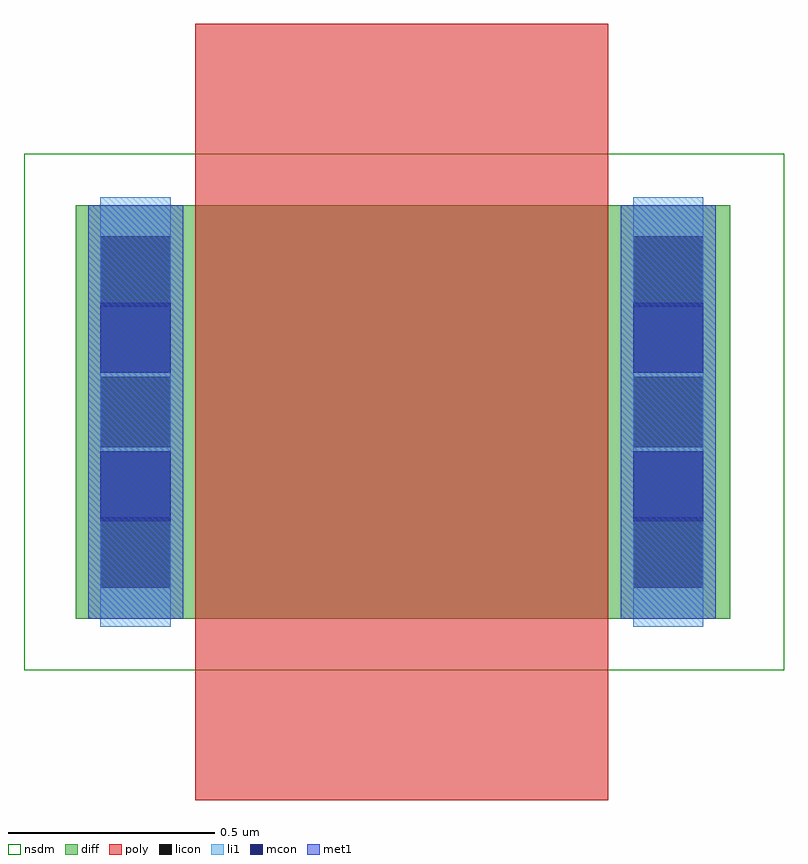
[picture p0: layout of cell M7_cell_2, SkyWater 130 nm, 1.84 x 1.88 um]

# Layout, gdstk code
import gdstk
lib = gdstk.Library(unit=1e-6, precision=1e-09)
def R(c, l, rs):  # rectangles x0, y0, x1, y1
    for r in rs: c.add(gdstk.rectangle(r[:2], r[2:], *l))
def A(c, l, x, y, w, h, nx, ny, dx, dy):  # array of equal rectangles
    R(c, l, [(x+i*dx, y+j*dy, x+i*dx+w, y+j*dy+h) for i in range(nx) for j in range(ny)])
diff = (65, 20)
poly = (66, 20)
licon = (66, 44)
li1 = (67, 20)
mcon = (67, 44)
met1 = (68, 20)
nsdm = (93, 44)

m7_cell_2 = lib.new_cell('M7_cell_2')
R(m7_cell_2, diff, [(0.125,0.44,1.71,1.44)])
R(m7_cell_2, poly, [(0.415,0,1.415,1.88)])
A(m7_cell_2, licon, 0.185, 0.515, 0.17, 0.17, 1, 3, 0, 0.34)
A(m7_cell_2, licon, 1.475, 0.515, 0.17, 0.17, 1, 3, 0, 0.34)
R(m7_cell_2, li1, [(0.185,0.42,0.355,1.46), (1.475,0.42,1.645,1.46)])
R(m7_cell_2, mcon, [(0.185,0.675,0.355,0.845), (1.475,0.675,1.645,0.845), (0.185,1.035,0.355,1.205), (1.475,1.035,1.645,1.205)])
R(m7_cell_2, met1, [(0.155,0.44,0.385,1.44), (1.445,0.44,1.675,1.44)])
R(m7_cell_2, nsdm, [(0,0.315,1.84,1.565)])

lib.write_gds('M7_cell_2.gds')
